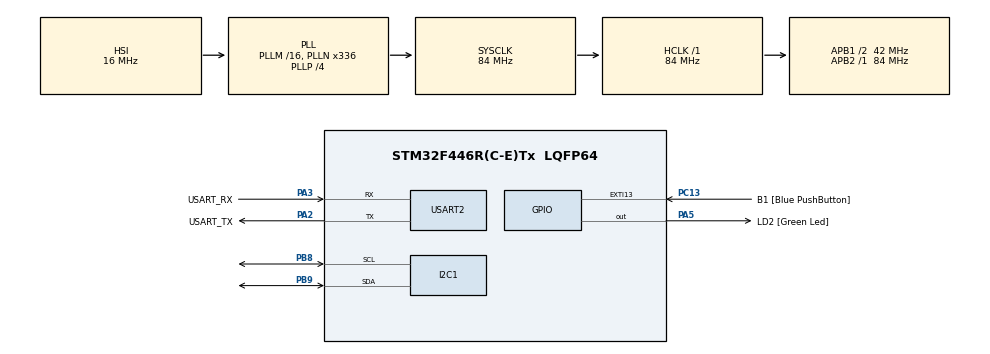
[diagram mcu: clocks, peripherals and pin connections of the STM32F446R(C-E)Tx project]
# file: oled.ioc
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I2C1.I2C_Mode=I2C_Fast
Mcu.Family=STM32F4
Mcu.Name=STM32F446R(C-E)Tx
Mcu.Package=LQFP64
NVIC.PriorityGroup=NVIC_PRIORITYGROUP_0
PA13.GPIO_Label=TMS
PA13.Mode=Serial_Wire
PA13.Signal=SYS_JTMS-SWDIO
PA14.GPIO_Label=TCK
PA14.Mode=Serial_Wire
PA14.Signal=SYS_JTCK-SWCLK
PA2.GPIO_Label=USART_TX
PA2.Mode=Asynchronous
PA2.Signal=USART2_TX
PA3.GPIO_Label=USART_RX
PA3.Mode=Asynchronous
PA3.Signal=USART2_RX
PA5.GPIO_Label=LD2 [Green Led]
PA5.Signal=GPIO_Output
PB3.GPIO_Label=SWO
PB3.Signal=SYS_JTDO-SWO
PB8.Mode=I2C
PB8.Signal=I2C1_SCL
PB9.Mode=I2C
PB9.Signal=I2C1_SDA
PC13.GPIO_Label=B1 [Blue PushButton]
PC13.GPIO_ModeDefaultEXTI=GPIO_MODE_IT_FALLING
PC13.Signal=GPXTI13
PC14-OSC32_IN.Mode=LSE-External-Oscillator
PC14-OSC32_IN.Signal=RCC_OSC32_IN
PC15-OSC32_OUT.Mode=LSE-External-Oscillator
PC15-OSC32_OUT.Signal=RCC_OSC32_OUT
PH0-OSC_IN.Mode=HSE-External-Oscillator
PH0-OSC_IN.Signal=RCC_OSC_IN
PH1-OSC_OUT.Mode=HSE-External-Oscillator
PH1-OSC_OUT.Signal=RCC_OSC_OUT
ProjectManager.HeapSize=0x200
ProjectManager.StackSize=0x400
ProjectManager.TargetToolchain=STM32CubeIDE
RCC.48MHZClocksFreq_Value=84000000
RCC.AHBFreq_Value=84000000
RCC.APB1CLKDivider=RCC_HCLK_DIV2
RCC.APB1Freq_Value=42000000
RCC.APB1TimFreq_Value=84000000
RCC.APB2Freq_Value=84000000
RCC.APB2TimFreq_Value=84000000
RCC.CortexFreq_Value=84000000
RCC.FLatency-AdvancedSettings=FLASH_LATENCY_2
RCC.HCLKFreq_Value=84000000
RCC.HSE_VALUE=8000000
RCC.HSI_VALUE=16000000
RCC.PLLN=336
RCC.PLLP=RCC_PLLP_DIV4
RCC.SYSCLKFreq_VALUE=84000000
RCC.SYSCLKSource=RCC_SYSCLKSOURCE_PLLCLK
RCC.USBFreq_Value=168000000
RCC.VCOOutputFreq_Value=336000000
USART2.VirtualMode=VM_ASYNC
board=NUCLEO-F446RE

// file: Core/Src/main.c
/* USER CODE BEGIN Header */
/**
  ******************************************************************************
  * @file           : main.c
  * @brief          : Main program body
  ******************************************************************************
  * @attention
  *
  * Copyright (c) 2025 STMicroelectronics.
  * All rights reserved.
  *
  * This software is licensed under terms that can be found in the LICENSE file
  * in the root directory of this software component.
  * If no LICENSE file comes with this software, it is provided AS-IS.
  *
  ******************************************************************************
  */
/* USER CODE END Header */
#include "main.h"

/* USER CODE BEGIN Includes */

#include "fonts.h"
#include "ssd1306.h"
#include "stm32f446xx.h"
#include <stdio.h>

/* USER CODE END Includes */

I2C_HandleTypeDef hi2c1;

UART_HandleTypeDef huart2;

void SystemClock_Config(void);
static void MX_GPIO_Init(void);
static void MX_USART2_UART_Init(void);
static void MX_I2C1_Init(void);

int main(void)
{

  /* USER CODE BEGIN 1 */
	// GPIOA PERIPHERAL CLOCK
	RCC->AHB1ENR |= (1<<0);
	// Analog mode
	GPIOA->MODER |= (0X3<<(PA0*2));
	// ADC clock
	RCC->APB2ENR |= (1<<ADC1EN);
	// channel sequence length L[3:0] = 0000 for 1 conversion
	ADC1->SQR1 = 0;
	// 1st conversion SQ1[4:0] = 0 for selecting channel 0
	ADC1->SQR3 = 0;

	// sampling rate = 480
	ADC1->SMPR2 |= (0X7<<0);
	// start ADC
	ADC1->CR2 |= (1<<ADON);
	// continuos conversion
	ADC1->CR2 |= (1<<CONT);
	// start conversion
	ADC1->CR2 |= (1<<SWSTART);
  /* USER CODE END 1 */

  /* MCU Configuration--------------------------------------------------------*/

  /* Reset of all peripherals, Initializes the Flash interface and the Systick. */
  HAL_Init();

  /* Configure the system clock */
  SystemClock_Config();

  /* Initialize all configured peripherals */
  MX_GPIO_Init();
  MX_USART2_UART_Init();
  MX_I2C1_Init();
  /* USER CODE BEGIN 2 */
  SSD1306_Init();
//  SSD1306_GotoXY (0,0);
//  SSD1306_Puts ("Entri", &Font_11x18, 1);
//  SSD1306_GotoXY (0, 30);
//  SSD1306_Puts ("Embedded", &Font_11x18, 1);
//  SSD1306_UpdateScreen();
  //SSD1306_ScrollRight(0,7);
  //HAL_Delay(3000);
  //SSD1306_ScrollLeft(1,7);
  //HAL_Delay(3000);
  //SSD1306_Stopscroll();
  SSD1306_Clear();

//  int num=2025;
//  char snum[5];
//  //SSD1306_GotoXY (30,20);
//  itoa(num, snum, 10);
//  SSD1306_Puts (snum, &Font_16x26, 1);
//  SSD1306_UpdateScreen();
//
//  //SSD1306_DrawLine(POINT1 X, POINT1 Y, POINT2 X, POINT2 Y, 1);
//  SSD1306_DrawLine(1,54,126,54,1);
//  SSD1306_UpdateScreen();
//  HAL_Delay (5000);
//  SSD1306_Clear();
//
//  // For Rectangle, we need to use two corner points
//  // SSD1306_DrawRectangle(POINT1 X, POINT1 Y, POINT2 X, POINT2 Y, 1);
//  SSD1306_DrawRectangle(17,1,115,14,1);
//  // SSD1306_DrawTriangle(POINT1X, POINT1Y, POINT2X, POINT2Y, POINT3X, POINT3Y, 1);
//  SSD1306_DrawTriangle(73,22,124,62,74,54,1);
//  // SSD1306_DrawCircle(CENTER POINT X, CENTER POINT Y, RADIUS, 1);
//  SSD1306_DrawCircle(34,50,13,1);
//  SSD1306_UpdateScreen();
  /* USER CODE END 2 */

  /* Infinite loop */
  while (1)
  {
	  // polling to check End of Conversion
	  		while(!(ADC1->SR & (1<<EOC)));
	  		// reading DR
	  		uint16_t dr = ADC1->DR;
	  		// temperature conversion
	  		float temp = ((dr*3.3) / 4095.0)*100.0;
	  		//printf("T : %.3f%cC\n",temp,'°');

	  		 SSD1306_GotoXY (0,0);
	  		  SSD1306_Puts ("Temperature : ", &Font_11x18, 1);
	  		  SSD1306_GotoXY (0, 30);
	  		  char buf[32];
	  		  sprintf(buf,"%.3f %cC",temp,'\u00B0');
	  		  SSD1306_Puts (buf, &Font_11x18, 1);
	  		  SSD1306_UpdateScreen();
	  		// delay
	  		 HAL_Delay (2000);
  }
}

void SystemClock_Config(void)
{
  RCC_OscInitTypeDef RCC_OscInitStruct = {0};
  RCC_ClkInitTypeDef RCC_ClkInitStruct = {0};

  /** Configure the main internal regulator output voltage
  */
  __HAL_RCC_PWR_CLK_ENABLE();
  __HAL_PWR_VOLTAGESCALING_CONFIG(PWR_REGULATOR_VOLTAGE_SCALE3);

  /** Initializes the RCC Oscillators according to the specified parameters
  * in the RCC_OscInitTypeDef structure.
  */
  RCC_OscInitStruct.OscillatorType = RCC_OSCILLATORTYPE_HSI;
  RCC_OscInitStruct.HSIState = RCC_HSI_ON;
  RCC_OscInitStruct.HSICalibrationValue = RCC_HSICALIBRATION_DEFAULT;
  RCC_OscInitStruct.PLL.PLLState = RCC_PLL_ON;
  RCC_OscInitStruct.PLL.PLLSource = RCC_PLLSOURCE_HSI;
  RCC_OscInitStruct.PLL.PLLM = 16;
  RCC_OscInitStruct.PLL.PLLN = 336;
  RCC_OscInitStruct.PLL.PLLP = RCC_PLLP_DIV4;
  RCC_OscInitStruct.PLL.PLLQ = 2;
  RCC_OscInitStruct.PLL.PLLR = 2;
  if (HAL_RCC_OscConfig(&RCC_OscInitStruct) != HAL_OK)
  {
    Error_Handler();
  }

  /** Initializes the CPU, AHB and APB buses clocks
  */
  RCC_ClkInitStruct.ClockType = RCC_CLOCKTYPE_HCLK|RCC_CLOCKTYPE_SYSCLK
                              |RCC_CLOCKTYPE_PCLK1|RCC_CLOCKTYPE_PCLK2;
  RCC_ClkInitStruct.SYSCLKSource = RCC_SYSCLKSOURCE_PLLCLK;
  RCC_ClkInitStruct.AHBCLKDivider = RCC_SYSCLK_DIV1;
  RCC_ClkInitStruct.APB1CLKDivider = RCC_HCLK_DIV2;
  RCC_ClkInitStruct.APB2CLKDivider = RCC_HCLK_DIV1;

  if (HAL_RCC_ClockConfig(&RCC_ClkInitStruct, FLASH_LATENCY_2) != HAL_OK)
  {
    Error_Handler();
  }
}

static void MX_I2C1_Init(void)
{

  hi2c1.Instance = I2C1;
  hi2c1.Init.ClockSpeed = 400000;
  hi2c1.Init.DutyCycle = I2C_DUTYCYCLE_2;
  hi2c1.Init.OwnAddress1 = 0;
  hi2c1.Init.AddressingMode = I2C_ADDRESSINGMODE_7BIT;
  hi2c1.Init.DualAddressMode = I2C_DUALADDRESS_DISABLE;
  hi2c1.Init.OwnAddress2 = 0;
  hi2c1.Init.GeneralCallMode = I2C_GENERALCALL_DISABLE;
  hi2c1.Init.NoStretchMode = I2C_NOSTRETCH_DISABLE;
  if (HAL_I2C_Init(&hi2c1) != HAL_OK)
  {
    Error_Handler();
  }

}

static void MX_USART2_UART_Init(void)
{

  huart2.Instance = USART2;
  huart2.Init.BaudRate = 115200;
  huart2.Init.WordLength = UART_WORDLENGTH_8B;
  huart2.Init.StopBits = UART_STOPBITS_1;
  huart2.Init.Parity = UART_PARITY_NONE;
  huart2.Init.Mode = UART_MODE_TX_RX;
  huart2.Init.HwFlowCtl = UART_HWCONTROL_NONE;
  huart2.Init.OverSampling = UART_OVERSAMPLING_16;
  if (HAL_UART_Init(&huart2) != HAL_OK)
  {
    Error_Handler();
  }

}

static void MX_GPIO_Init(void)
{
  GPIO_InitTypeDef GPIO_InitStruct = {0};

  /* GPIO Ports Clock Enable */
  __HAL_RCC_GPIOC_CLK_ENABLE();
  __HAL_RCC_GPIOH_CLK_ENABLE();
  __HAL_RCC_GPIOA_CLK_ENABLE();
  __HAL_RCC_GPIOB_CLK_ENABLE();

  /*Configure GPIO pin Output Level */
  HAL_GPIO_WritePin(LD2_GPIO_Port, LD2_Pin, GPIO_PIN_RESET);

  /*Configure GPIO pin : B1_Pin */
  GPIO_InitStruct.Pin = B1_Pin;
  GPIO_InitStruct.Mode = GPIO_MODE_IT_FALLING;
  GPIO_InitStruct.Pull = GPIO_NOPULL;
  HAL_GPIO_Init(B1_GPIO_Port, &GPIO_InitStruct);

  /*Configure GPIO pin : LD2_Pin */
  GPIO_InitStruct.Pin = LD2_Pin;
  GPIO_InitStruct.Mode = GPIO_MODE_OUTPUT_PP;
  GPIO_InitStruct.Pull = GPIO_NOPULL;
  GPIO_InitStruct.Speed = GPIO_SPEED_FREQ_LOW;
  HAL_GPIO_Init(LD2_GPIO_Port, &GPIO_InitStruct);

}

void Error_Handler(void)
{
  __disable_irq();
  while (1)
  {
  }
}
